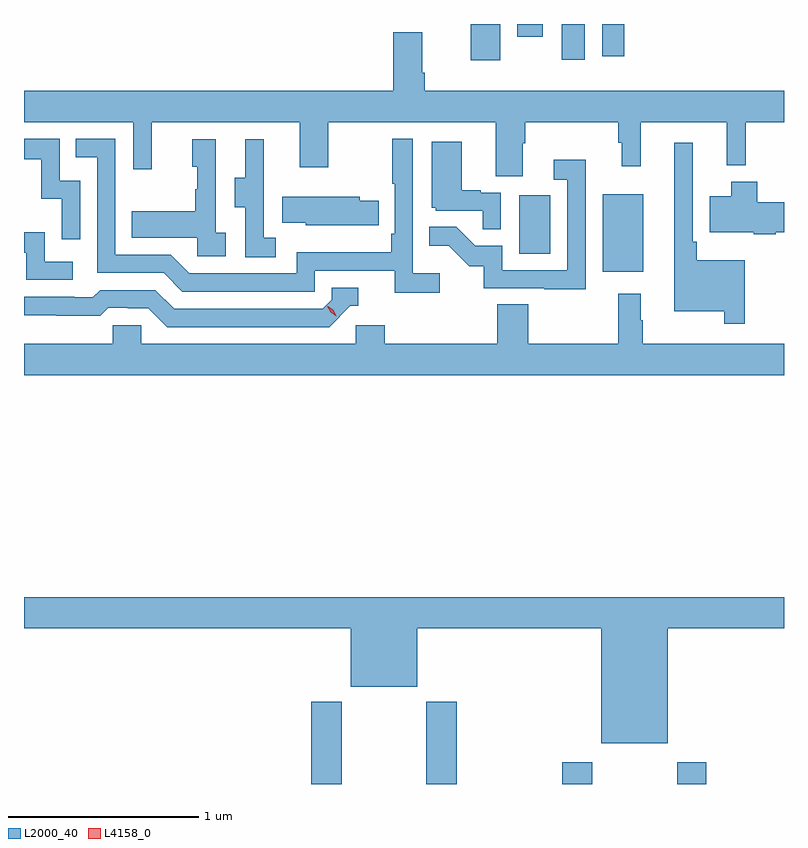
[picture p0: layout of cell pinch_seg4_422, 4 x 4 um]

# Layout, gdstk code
import gdstk
lib = gdstk.Library(unit=1e-6, precision=1e-09)
def R(c, l, rs):  # rectangles x0, y0, x1, y1
    for r in rs: c.add(gdstk.rectangle(r[:2], r[2:], *l))
def P(c, l, *ps):  # polygons
    for p in ps: c.add(gdstk.Polygon(p, *l))
L2000_40 = (2000, 40)
L4158_0 = (4158, 0)

pinch_seg4_422 = lib.new_cell('pinch_seg4_422')
R(pinch_seg4_422, L2000_40, [(953.699,776.02,953.859,776.452), (954.304,776.02,954.464,776.452), (955.019,776.02,955.179,776.134), (955.624,776.02,955.779,776.134), (955.232,778.715,955.447,779.125), (954.794,778.812,954.958,779.119), (954.539,779.829,954.694,780.02), (955.016,779.832,955.138,780.02), (955.23,779.85,955.346,780.02), (954.782,779.952,954.916,780.02)])
P(pinch_seg4_422, L2000_40, [(954.811,779.392),(954.824,779.392),(954.824,779.504),(955.315,779.504),(955.315,779.396),(955.334,779.396),(955.334,779.271),(955.433,779.271),(955.433,779.504),(955.886,779.504),(955.886,779.276),(955.986,779.276),(955.986,779.504),(956.187,779.504),(956.187,779.668),(954.296,779.668),(954.296,779.764),(954.283,779.764),(954.283,779.977),(954.131,779.977),(954.131,779.668),(952.187,779.668),(952.187,779.504),(952.761,779.504),(952.761,779.256),(952.859,779.256),(952.859,779.504),(953.639,779.504),(953.639,779.265),(953.787,779.265),(953.787,779.504),(954.671,779.504),(954.671,779.218),(954.811,779.218)],
  [(954.376,778.708),(954.234,778.708),(954.234,779.416),(954.126,779.416),(954.126,779.179),(954.138,779.179),(954.138,778.915),(954.12,778.915),(954.12,778.819),(953.622,778.819),(953.622,778.707),(953.058,778.707),(952.959,778.806),(952.668,778.806),(952.668,779.415),(952.459,779.415),(952.459,779.319),(952.572,779.319),(952.572,778.71),(952.922,778.71),(953.021,778.611),(953.718,778.611),(953.718,778.722),(954.137,778.722),(954.137,778.606),(954.376,778.606)],
  [(952.482,779.196),(952.374,779.196),(952.374,779.415),(952.187,779.415),(952.187,779.307),(952.277,779.307),(952.277,779.099),(952.386,779.099),(952.386,778.887),(952.482,778.887)],
  [(953.248,778.922),(953.196,778.922),(953.196,779.413),(953.072,779.413),(953.072,779.268),(953.098,779.268),(953.098,779.15),(953.088,779.15),(953.088,779.035),(952.753,779.035),(952.753,778.895),(953.1,778.895),(953.1,778.797),(953.248,778.797)],
  [(953.512,778.895),(953.448,778.895),(953.448,779.199),(953.45,779.199),(953.45,779.413),(953.351,779.413),(953.351,779.211),(953.297,779.211),(953.297,779.056),(953.352,779.056),(953.352,778.792),(953.512,778.792)],
  [(954.696,779.133),(954.59,779.133),(954.59,779.146),(954.49,779.146),(954.49,779.401),(954.332,779.401),(954.332,779.052),(954.354,779.052),(954.354,779.037),(954.601,779.037),(954.601,778.939),(954.696,778.939)],
  [(955.98,778.777),(955.727,778.777),(955.727,778.873),(955.707,778.873),(955.707,779.395),(955.61,779.395),(955.61,778.508),(955.872,778.508),(955.872,778.443),(955.98,778.443)],
  [(955.143,779.305),(954.975,779.305),(954.975,779.199),(955.047,779.199),(955.047,778.725),(954.705,778.725),(954.705,778.854),(954.561,778.854),(954.463,778.952),(954.319,778.952),(954.319,778.853),(954.423,778.853),(954.53,778.746),(954.607,778.746),(954.607,778.629),(954.925,778.629),(954.925,778.624),(955.143,778.624)],
  [(956.144,778.925),(956.187,778.925),(956.187,779.083),(956.045,779.083),(956.045,779.191),(955.91,779.191),(955.91,779.113),(955.796,779.113),(955.796,778.925),(956.028,778.925),(956.028,778.913),(956.144,778.913)],
  [(954.053,779.091),(953.955,779.091),(953.955,779.11),(953.545,779.11),(953.545,778.973),(953.67,778.973),(953.67,778.961),(954.053,778.961)],
  [(952.444,778.77),(952.296,778.77),(952.296,778.924),(952.187,778.924),(952.187,778.815),(952.2,778.815),(952.2,778.674),(952.444,778.674)],
  [(953.904,778.536),(953.947,778.536),(953.947,778.632),(953.808,778.632),(953.808,778.569),(953.76,778.521),(952.977,778.521),(952.878,778.62),(952.589,778.62),(952.55,778.581),(952.451,778.581),(952.451,778.584),(952.187,778.584),(952.187,778.487),(952.356,778.487),(952.356,778.485),(952.589,778.485),(952.631,778.527),(952.734,778.527),(952.734,778.524),(952.841,778.524),(952.94,778.425),(953.793,778.425)],
  [(956.187,778.336),(955.444,778.336),(955.444,778.46),(955.432,778.46),(955.432,778.6),(955.315,778.6),(955.315,778.336),(954.842,778.336),(954.842,778.544),(954.677,778.544),(954.677,778.336),(954.086,778.336),(954.086,778.434),(953.934,778.434),(953.934,778.336),(952.803,778.336),(952.803,778.434),(952.653,778.434),(952.653,778.336),(952.187,778.336),(952.187,778.172),(956.187,778.172)],
  [(955.576,776.84),(956.187,776.84),(956.187,777.004),(952.187,777.004),(952.187,776.84),(953.906,776.84),(953.906,776.531),(954.256,776.531),(954.256,776.84),(955.226,776.84),(955.226,776.234),(955.576,776.234)])
P(pinch_seg4_422, L4158_0, [(953.831,778.483),(953.801,778.503),(953.784,778.535),(953.784,778.535),(953.785,778.535),(953.815,778.516),(953.831,778.484),(953.831,778.483)])

lib.write_gds('pinch_seg4_422.gds')
